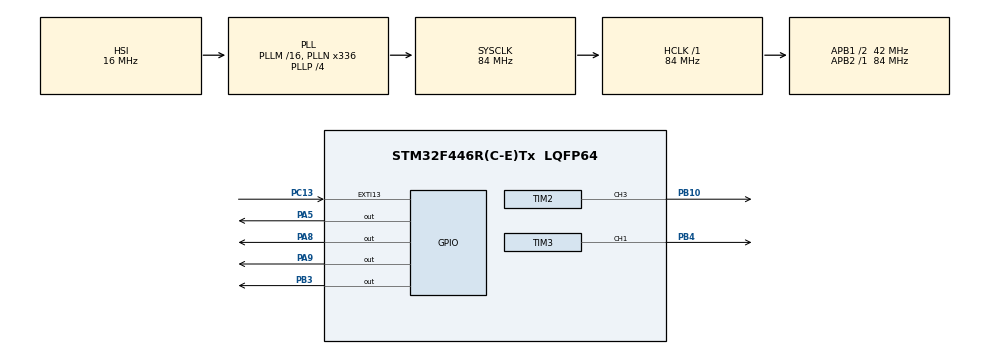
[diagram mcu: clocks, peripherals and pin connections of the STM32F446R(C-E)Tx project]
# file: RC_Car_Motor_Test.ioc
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Mcu.Family=STM32F4
Mcu.Name=STM32F446R(C-E)Tx
Mcu.Package=LQFP64
NUCLEO-F446RE.BUTTON=1
NUCLEO-F446RE.LD1=true
NVIC.EXTI15_10_IRQn=true\:0\:0\:false\:false\:true\:false\:true\:true
NVIC.PriorityGroup=NVIC_PRIORITYGROUP_0
PA13.GPIO_Label=TMS
PA13.Signal=SYS_JTMS-SWDIO
PA14.GPIO_Label=TCK
PA14.Signal=SYS_JTCK-SWCLK
PA2.GPIO_Label=USART_TX
PA2.Signal=USART2_TX
PA3.GPIO_Label=USART_RX
PA3.Signal=USART2_RX
PA5.Signal=GPIO_Output
PA8.Signal=GPIO_Output
PA9.Signal=GPIO_Output
PB10.Signal=S_TIM2_CH3
PB3.Signal=GPIO_Output
PB4.Signal=S_TIM3_CH1
PC13.Signal=GPXTI13
PC14-OSC32_IN.Signal=RCC_OSC32_IN
PC15-OSC32_OUT.Signal=RCC_OSC32_OUT
PH0-OSC_IN.Signal=RCC_OSC_IN
PH1-OSC_OUT.Signal=RCC_OSC_OUT
ProjectManager.HeapSize=0x200
ProjectManager.StackSize=0x400
ProjectManager.TargetToolchain=STM32CubeIDE
RCC.AHBFreq_Value=84000000
RCC.APB1CLKDivider=RCC_HCLK_DIV2
RCC.APB1Freq_Value=42000000
RCC.APB1TimFreq_Value=84000000
RCC.APB2Freq_Value=84000000
RCC.APB2TimFreq_Value=84000000
RCC.CortexFreq_Value=84000000
RCC.FLatency-AdvancedSettings=FLASH_LATENCY_2
RCC.HCLKFreq_Value=84000000
RCC.HSE_VALUE=8000000
RCC.HSI_VALUE=16000000
RCC.LSE_VALUE=32768
RCC.PLLN=336
RCC.PLLP=RCC_PLLP_DIV4
RCC.SYSCLKFreq_VALUE=84000000
RCC.SYSCLKSource=RCC_SYSCLKSOURCE_PLLCLK
RCC.USBFreq_Value=168000000
RCC.VCOOutputFreq_Value=336000000
SH.S_TIM2_CH3.0=TIM2_CH3,PWM Generation3 CH3
SH.S_TIM3_CH1.0=TIM3_CH1,PWM Generation1 CH1
TIM2.Channel-PWM\ Generation3\ CH3=TIM_CHANNEL_3
TIM2.Period=999
TIM2.Prescaler=89
TIM3.Channel-PWM\ Generation1\ CH1=TIM_CHANNEL_1
TIM3.Period=999
TIM3.Prescaler=89
VP_NUCLEO-F446RE_VS_BSP_COMMON.Mode=COMMON
board=NUCLEO-F446RE

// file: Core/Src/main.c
/* USER CODE BEGIN Header */
/**
  ******************************************************************************
  * @file           : main.c
  * @brief          : Main program body
  ******************************************************************************
  * @attention
  *
  * Copyright (c) 2026 STMicroelectronics.
  * All rights reserved.
  *
  * This software is licensed under terms that can be found in the LICENSE file
  * in the root directory of this software component.
  * If no LICENSE file comes with this software, it is provided AS-IS.
  *
  ******************************************************************************
  */
/* USER CODE END Header */
#include "main.h"

TIM_HandleTypeDef htim2;
TIM_HandleTypeDef htim3;

void SystemClock_Config(void);
static void MX_GPIO_Init(void);
static void MX_TIM2_Init(void);
static void MX_TIM3_Init(void);

/* USER CODE BEGIN 0 */

#define MOTOR_FORWARD  0
#define MOTOR_REVERSE  1
void Motor_SetDirection(uint8_t motor, uint8_t direction)
{
    if (motor == 0) // Right motor
    {
        HAL_GPIO_WritePin(GPIOA, GPIO_PIN_8,
                          direction == MOTOR_FORWARD ? GPIO_PIN_SET : GPIO_PIN_RESET);
    }
    else // Left motor
    {
        HAL_GPIO_WritePin(GPIOA, GPIO_PIN_9,
                          direction == MOTOR_FORWARD ? GPIO_PIN_SET : GPIO_PIN_RESET);
    }
}

void Motor_SetSpeed(uint8_t motor, uint16_t speed)
{
    if (speed > 999)
    {
        speed = 999;
    }

    if (motor == 0) // Right motor
    {
        __HAL_TIM_SET_COMPARE(&htim3, TIM_CHANNEL_1, speed);
    }
    else // Left motor
    {
        __HAL_TIM_SET_COMPARE(&htim2, TIM_CHANNEL_3, speed);
    }
}

void Motor_Stop(void)
{
    Motor_SetSpeed(0, 0);
    Motor_SetSpeed(1, 0);
}
/* USER CODE END 0 */

int main(void)
{

  /* MCU Configuration--------------------------------------------------------*/

  /* Reset of all peripherals, Initializes the Flash interface and the Systick. */
  HAL_Init();

  /* Configure the system clock */
  SystemClock_Config();

  /* Initialize all configured peripherals */
  MX_GPIO_Init();
  MX_TIM2_Init();
  MX_TIM3_Init();
  /* USER CODE BEGIN 2 */
  HAL_TIM_PWM_Start(&htim3, TIM_CHANNEL_1);
  HAL_TIM_PWM_Start(&htim2, TIM_CHANNEL_3);
  /* USER CODE END 2 */

  /* Initialize leds */
  BSP_LED_Init(LED2);

  /* Initialize USER push-button, will be used to trigger an interrupt each time it's pressed.*/
  BSP_PB_Init(BUTTON_USER, BUTTON_MODE_EXTI);

  /* Infinite loop */
  while (1)
  {

  }
}

void SystemClock_Config(void)
{
  RCC_OscInitTypeDef RCC_OscInitStruct = {0};
  RCC_ClkInitTypeDef RCC_ClkInitStruct = {0};

  /** Configure the main internal regulator output voltage
  */
  __HAL_RCC_PWR_CLK_ENABLE();
  __HAL_PWR_VOLTAGESCALING_CONFIG(PWR_REGULATOR_VOLTAGE_SCALE3);

  /** Initializes the RCC Oscillators according to the specified parameters
  * in the RCC_OscInitTypeDef structure.
  */
  RCC_OscInitStruct.OscillatorType = RCC_OSCILLATORTYPE_HSI;
  RCC_OscInitStruct.HSIState = RCC_HSI_ON;
  RCC_OscInitStruct.HSICalibrationValue = RCC_HSICALIBRATION_DEFAULT;
  RCC_OscInitStruct.PLL.PLLState = RCC_PLL_ON;
  RCC_OscInitStruct.PLL.PLLSource = RCC_PLLSOURCE_HSI;
  RCC_OscInitStruct.PLL.PLLM = 16;
  RCC_OscInitStruct.PLL.PLLN = 336;
  RCC_OscInitStruct.PLL.PLLP = RCC_PLLP_DIV4;
  RCC_OscInitStruct.PLL.PLLQ = 2;
  RCC_OscInitStruct.PLL.PLLR = 2;
  if (HAL_RCC_OscConfig(&RCC_OscInitStruct) != HAL_OK)
  {
    Error_Handler();
  }

  /** Initializes the CPU, AHB and APB buses clocks
  */
  RCC_ClkInitStruct.ClockType = RCC_CLOCKTYPE_HCLK|RCC_CLOCKTYPE_SYSCLK
                              |RCC_CLOCKTYPE_PCLK1|RCC_CLOCKTYPE_PCLK2;
  RCC_ClkInitStruct.SYSCLKSource = RCC_SYSCLKSOURCE_PLLCLK;
  RCC_ClkInitStruct.AHBCLKDivider = RCC_SYSCLK_DIV1;
  RCC_ClkInitStruct.APB1CLKDivider = RCC_HCLK_DIV2;
  RCC_ClkInitStruct.APB2CLKDivider = RCC_HCLK_DIV1;

  if (HAL_RCC_ClockConfig(&RCC_ClkInitStruct, FLASH_LATENCY_2) != HAL_OK)
  {
    Error_Handler();
  }
}

static void MX_TIM2_Init(void)
{

  TIM_MasterConfigTypeDef sMasterConfig = {0};
  TIM_OC_InitTypeDef sConfigOC = {0};

  htim2.Instance = TIM2;
  htim2.Init.Prescaler = 89;
  htim2.Init.CounterMode = TIM_COUNTERMODE_UP;
  htim2.Init.Period = 999;
  htim2.Init.ClockDivision = TIM_CLOCKDIVISION_DIV1;
  htim2.Init.AutoReloadPreload = TIM_AUTORELOAD_PRELOAD_DISABLE;
  if (HAL_TIM_PWM_Init(&htim2) != HAL_OK)
  {
    Error_Handler();
  }
  sMasterConfig.MasterOutputTrigger = TIM_TRGO_RESET;
  sMasterConfig.MasterSlaveMode = TIM_MASTERSLAVEMODE_DISABLE;
  if (HAL_TIMEx_MasterConfigSynchronization(&htim2, &sMasterConfig) != HAL_OK)
  {
    Error_Handler();
  }
  sConfigOC.OCMode = TIM_OCMODE_PWM1;
  sConfigOC.Pulse = 0;
  sConfigOC.OCPolarity = TIM_OCPOLARITY_HIGH;
  sConfigOC.OCFastMode = TIM_OCFAST_DISABLE;
  if (HAL_TIM_PWM_ConfigChannel(&htim2, &sConfigOC, TIM_CHANNEL_3) != HAL_OK)
  {
    Error_Handler();
  }
  HAL_TIM_MspPostInit(&htim2);

}

static void MX_TIM3_Init(void)
{

  TIM_MasterConfigTypeDef sMasterConfig = {0};
  TIM_OC_InitTypeDef sConfigOC = {0};

  htim3.Instance = TIM3;
  htim3.Init.Prescaler = 89;
  htim3.Init.CounterMode = TIM_COUNTERMODE_UP;
  htim3.Init.Period = 999;
  htim3.Init.ClockDivision = TIM_CLOCKDIVISION_DIV1;
  htim3.Init.AutoReloadPreload = TIM_AUTORELOAD_PRELOAD_DISABLE;
  if (HAL_TIM_PWM_Init(&htim3) != HAL_OK)
  {
    Error_Handler();
  }
  sMasterConfig.MasterOutputTrigger = TIM_TRGO_RESET;
  sMasterConfig.MasterSlaveMode = TIM_MASTERSLAVEMODE_DISABLE;
  if (HAL_TIMEx_MasterConfigSynchronization(&htim3, &sMasterConfig) != HAL_OK)
  {
    Error_Handler();
  }
  sConfigOC.OCMode = TIM_OCMODE_PWM1;
  sConfigOC.Pulse = 0;
  sConfigOC.OCPolarity = TIM_OCPOLARITY_HIGH;
  sConfigOC.OCFastMode = TIM_OCFAST_DISABLE;
  if (HAL_TIM_PWM_ConfigChannel(&htim3, &sConfigOC, TIM_CHANNEL_1) != HAL_OK)
  {
    Error_Handler();
  }
  HAL_TIM_MspPostInit(&htim3);

}

static void MX_GPIO_Init(void)
{
  GPIO_InitTypeDef GPIO_InitStruct = {0};

  /* GPIO Ports Clock Enable */
  __HAL_RCC_GPIOC_CLK_ENABLE();
  __HAL_RCC_GPIOH_CLK_ENABLE();
  __HAL_RCC_GPIOA_CLK_ENABLE();
  __HAL_RCC_GPIOB_CLK_ENABLE();

  /*Configure GPIO pin Output Level */
  HAL_GPIO_WritePin(GPIOA, GPIO_PIN_8|GPIO_PIN_9, GPIO_PIN_RESET);

  /*Configure GPIO pin Output Level */
  HAL_GPIO_WritePin(GPIOB, GPIO_PIN_3, GPIO_PIN_RESET);

  /*Configure GPIO pins : USART_TX_Pin USART_RX_Pin */
  GPIO_InitStruct.Pin = USART_TX_Pin|USART_RX_Pin;
  GPIO_InitStruct.Mode = GPIO_MODE_AF_PP;
  GPIO_InitStruct.Pull = GPIO_NOPULL;
  GPIO_InitStruct.Speed = GPIO_SPEED_FREQ_VERY_HIGH;
  GPIO_InitStruct.Alternate = GPIO_AF7_USART2;
  HAL_GPIO_Init(GPIOA, &GPIO_InitStruct);

  /*Configure GPIO pins : PA8 PA9 */
  GPIO_InitStruct.Pin = GPIO_PIN_8|GPIO_PIN_9;
  GPIO_InitStruct.Mode = GPIO_MODE_OUTPUT_PP;
  GPIO_InitStruct.Pull = GPIO_NOPULL;
  GPIO_InitStruct.Speed = GPIO_SPEED_FREQ_LOW;
  HAL_GPIO_Init(GPIOA, &GPIO_InitStruct);

  /*Configure GPIO pin : PB3 */
  GPIO_InitStruct.Pin = GPIO_PIN_3;
  GPIO_InitStruct.Mode = GPIO_MODE_OUTPUT_PP;
  GPIO_InitStruct.Pull = GPIO_NOPULL;
  GPIO_InitStruct.Speed = GPIO_SPEED_FREQ_LOW;
  HAL_GPIO_Init(GPIOB, &GPIO_InitStruct);

}

void Error_Handler(void)
{
  __disable_irq();
  while (1)
  {
  }
}
